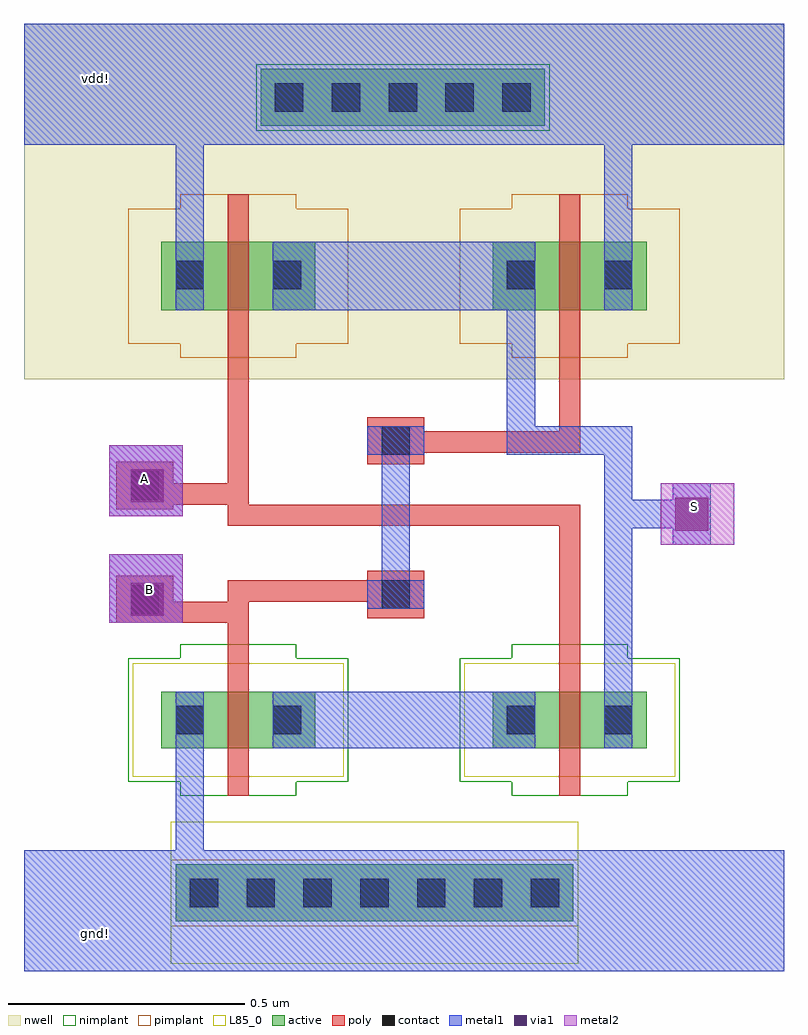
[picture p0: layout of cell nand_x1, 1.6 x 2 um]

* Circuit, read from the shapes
.subckt nand_x1 A B S gnd! vdd!
M1 n1 B gnd! gnd! nfet w=0.12u l=0.045u
M2 S A n1 gnd! nfet w=0.12u l=0.045u
M3 S A vdd! vdd! pfet w=0.145u l=0.045u
M4 vdd! B S vdd! pfet w=0.145u l=0.045u
.ends

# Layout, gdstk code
from math import pi, radians
import gdstk
lib = gdstk.Library(unit=1e-6, precision=5e-10)
def R(c, l, rs):  # rectangles x0, y0, x1, y1
    for r in rs: c.add(gdstk.rectangle(r[:2], r[2:], *l))
def A(c, l, x, y, w, h, nx, ny, dx, dy):  # array of equal rectangles
    R(c, l, [(x+i*dx, y+j*dy, x+i*dx+w, y+j*dy+h) for i in range(nx) for j in range(ny)])
active = (1, 0)
nwell = (2, 0)
poly = (3, 0)
nimplant = (4, 0)
pimplant = (5, 0)
contact = (6, 0)
metal1 = (7, 0)
via1 = (8, 0)
metal2 = (9, 0)
L85_0 = (85, 0)

nmos1v_cdns_764190943050 = lib.new_cell('nmos1v_CDNS_764190943050')
R(nmos1v_cdns_764190943050, active, [(-0.14,0,0,0.12), (0,0,0.045,0.12), (0.045,0,0.185,0.12)])
R(nmos1v_cdns_764190943050, poly, [(0,-0.1,0.045,-0.05), (0,-0.05,0.045,0), (0,0,0.045,0.12), (0,0.12,0.045,0.17), (0,0.17,0.045,0.22)])
R(nmos1v_cdns_764190943050, nimplant, [(-0.1,-0.1,0.145,0.22), (-0.21,-0.07,0.255,0.19)])
R(nmos1v_cdns_764190943050, contact, [(-0.11,0.03,-0.05,0.09), (0.095,0.03,0.155,0.09)])
R(nmos1v_cdns_764190943050, metal1, [(-0.11,0,-0.05,0.12), (0.095,0,0.155,0.12)])
R(nmos1v_cdns_764190943050, L85_0, [(-0.2,-0.06,0.245,0.18)])

pmos1v_cdns_764190943051 = lib.new_cell('pmos1v_CDNS_764190943051')
R(pmos1v_cdns_764190943051, active, [(-0.14,0,0,0.145), (0,0,0.045,0.145), (0.045,0,0.185,0.145)])
R(pmos1v_cdns_764190943051, nwell, [(-0.2,-0.06,0.245,0.205)])
R(pmos1v_cdns_764190943051, poly, [(0,-0.1,0.045,-0.05), (0,-0.05,0.045,0), (0,0,0.045,0.145), (0,0.145,0.045,0.195), (0,0.195,0.045,0.245)])
R(pmos1v_cdns_764190943051, pimplant, [(-0.1,-0.1,0.145,0.245), (-0.21,-0.07,0.255,0.215)])
R(pmos1v_cdns_764190943051, contact, [(-0.11,0.045,-0.05,0.105), (0.095,0.045,0.155,0.105)])
R(pmos1v_cdns_764190943051, metal1, [(-0.11,0,-0.05,0.145), (0.095,0,0.155,0.145)])

m1_po_cdns_764190943050 = lib.new_cell('M1_PO_CDNS_764190943050')
R(m1_po_cdns_764190943050, poly, [(-0.05,-0.06,0.05,0.06)])
R(m1_po_cdns_764190943050, contact, [(-0.03,-0.03,0.03,0.03)])
R(m1_po_cdns_764190943050, metal1, [(-0.03,-0.06,0.03,0.06)])

m2_m1_cdns_764190943051 = lib.new_cell('M2_M1_CDNS_764190943051')
R(m2_m1_cdns_764190943051, metal1, [(-0.04,-0.065,0.04,0.065)])
R(m2_m1_cdns_764190943051, via1, [(-0.035,-0.035,0.035,0.035)])
R(m2_m1_cdns_764190943051, metal2, [(-0.04,-0.065,0.04,0.065)])

m1_psub_cdns_76419094305 = lib.new_cell('M1_PSUB_CDNS_764190943052')
R(m1_psub_cdns_76419094305, active, [(-0.06,-0.42,0.06,0.42)])
R(m1_psub_cdns_76419094305, pimplant, [(-0.07,-0.43,0.07,0.43)])
A(m1_psub_cdns_76419094305, contact, -0.03, -0.39, 0.06, 0.06, 1, 7, 0, 0.12)
R(m1_psub_cdns_76419094305, metal1, [(-0.03,-0.42,0.03,0.42)])
R(m1_psub_cdns_76419094305, L85_0, [(-0.15,-0.43,0.15,0.43)])

m1_nwell_cdns_7641909430 = lib.new_cell('M1_NWELL_CDNS_764190943053')
R(m1_nwell_cdns_7641909430, active, [(-0.06,-0.3,0.06,0.3)])
R(m1_nwell_cdns_7641909430, nwell, [(-0.15,-0.36,0.15,0.36)])
R(m1_nwell_cdns_7641909430, nimplant, [(-0.07,-0.31,0.07,0.31)])
A(m1_nwell_cdns_7641909430, contact, -0.03, -0.27, 0.06, 0.06, 1, 5, 0, 0.12)
R(m1_nwell_cdns_7641909430, metal1, [(-0.03,-0.3,0.03,0.3)])

nand_x1 = lib.new_cell('nand_x1')
R(nand_x1, nwell, [(0,1.25,1.605,2)])
R(nand_x1, metal1, [(0,0,1.605,0.255), (0.1,0.03,0.2,0.13), (0.18,0.735,0.335,0.88), (0.18,0.96,0.335,1.11), (0,1.745,1.605,2), (0.1,1.835,0.2,1.935)])
R(nand_x1, metal2, [(0.18,0.735,0.335,0.88), (0.215,0.755,0.315,0.855), (1.345,0.9,1.5,1.03), (1.365,0.93,1.465,1.03), (0.18,0.96,0.335,1.11), (0.205,0.99,0.305,1.09)])
nand_x1.add(gdstk.FlexPath([(1.05,1.12),(1.05,1.395)], 0.06, ends=(0.03, 0), simple_path=True, layer=7, datatype=0))  # metal1
nand_x1.add(gdstk.FlexPath([(0.35,0.47),(0.35,0.255)], 0.06, ends="flush", simple_path=True, layer=7, datatype=0))  # metal1
nand_x1.add(gdstk.FlexPath([(1.255,1.12),(1.05,1.12)], 0.06, ends="extended", simple_path=True, layer=7, datatype=0))  # metal1
nand_x1.add(gdstk.FlexPath([(1.255,0.965),(1.41,0.965)], 0.06, ends=(0.03, 0), simple_path=True, layer=7, datatype=0))  # metal1
nand_x1.add(gdstk.FlexPath([(1.255,0.965),(1.255,1.12)], 0.06, ends="extended", simple_path=True, layer=7, datatype=0))  # metal1
nand_x1.add(gdstk.FlexPath([(1.255,0.59),(1.255,0.965)], 0.06, ends=(0, 0.03), simple_path=True, layer=7, datatype=0))  # metal1
nand_x1.add(gdstk.FlexPath([(1.255,1.54),(1.255,1.745)], 0.06, ends="flush", simple_path=True, layer=7, datatype=0))  # metal1
nand_x1.add(gdstk.FlexPath([(0.35,1.54),(0.35,1.745)], 0.06, ends="flush", simple_path=True, layer=7, datatype=0))  # metal1
nand_x1.add(gdstk.FlexPath([(0.585,1.4675),(1.02,1.4675)], 0.145, ends="flush", simple_path=True, layer=7, datatype=0))  # metal1
nand_x1.add(gdstk.FlexPath([(1.02,0.53),(0.585,0.53)], 0.12, ends="flush", simple_path=True, layer=7, datatype=0))  # metal1
nand_x1.add(gdstk.FlexPath([(0.785,1.1175),(0.785,0.795)], 0.06, ends="flush", simple_path=True, layer=7, datatype=0))  # metal1
nand_x1.add(gdstk.FlexPath([(0.4525,0.7575),(0.205,0.7575)], 0.045, ends=(0.0225, 0), simple_path=True, layer=3, datatype=0))  # poly
nand_x1.add(gdstk.FlexPath([(0.4525,0.7575),(0.4525,0.8025)], 0.045, ends="extended", simple_path=True, layer=3, datatype=0))  # poly
nand_x1.add(gdstk.FlexPath([(0.4525,1.0075),(0.205,1.0075)], 0.045, ends=(0.0225, 0), simple_path=True, layer=3, datatype=0))  # poly
nand_x1.add(gdstk.FlexPath([(0.4525,1.295),(0.4525,1.0075)], 0.045, ends=(0, 0.0225), simple_path=True, layer=3, datatype=0))  # poly
nand_x1.add(gdstk.FlexPath([(1.1525,1.1175),(0.785,1.1175)], 0.045, ends=(0.0225, 0), simple_path=True, layer=3, datatype=0))  # poly
nand_x1.add(gdstk.FlexPath([(1.1525,1.295),(1.1525,1.1175)], 0.045, ends=(0, 0.0225), simple_path=True, layer=3, datatype=0))  # poly
nand_x1.add(gdstk.FlexPath([(0.4525,0.8025),(0.82,0.8025)], 0.045, ends=(0.0225, 0), simple_path=True, layer=3, datatype=0))  # poly
nand_x1.add(gdstk.FlexPath([(0.4525,0.69),(0.4525,0.7575)], 0.045, ends=(0, 0.0225), simple_path=True, layer=3, datatype=0))  # poly
nand_x1.add(gdstk.FlexPath([(0.4525,0.9625),(0.4525,1.0075)], 0.045, ends="extended", simple_path=True, layer=3, datatype=0))  # poly
nand_x1.add(gdstk.FlexPath([(1.1525,0.9625),(0.4525,0.9625)], 0.045, ends="extended", simple_path=True, layer=3, datatype=0))  # poly
nand_x1.add(gdstk.FlexPath([(1.1525,0.665),(1.1525,0.9625)], 0.045, ends=(0, 0.0225), simple_path=True, layer=3, datatype=0))  # poly
nand_x1.add(gdstk.Reference(nmos1v_cdns_764190943050, (0.43,0.47)))
nand_x1.add(gdstk.Reference(nmos1v_cdns_764190943050, (1.13,0.47)))
nand_x1.add(gdstk.Reference(pmos1v_cdns_764190943051, (1.13,1.395)))
nand_x1.add(gdstk.Reference(pmos1v_cdns_764190943051, (0.43,1.395)))
nand_x1.add(gdstk.Reference(m1_po_cdns_764190943050, (0.785,1.12), rotation=pi/2))
nand_x1.add(gdstk.Reference(m1_po_cdns_764190943050, (0.785,0.795), rotation=pi/2))
nand_x1.add(gdstk.Reference(m1_po_cdns_764190943050, (0.255,1.025), rotation=pi/2))
nand_x1.add(gdstk.Reference(m1_po_cdns_764190943050, (0.255,0.785), rotation=pi/2))
nand_x1.add(gdstk.Reference(m2_m1_cdns_764190943051, (1.41,0.965)))
nand_x1.add(gdstk.Reference(m2_m1_cdns_764190943051, (0.26,0.785), rotation=pi/2))
nand_x1.add(gdstk.Reference(m2_m1_cdns_764190943051, (0.26,1.025), rotation=pi/2))
nand_x1.add(gdstk.Reference(m1_psub_cdns_76419094305, (0.74,0.165), rotation=pi/2))
nand_x1.add(gdstk.Reference(m1_nwell_cdns_7641909430, (0.8,1.845), rotation=pi/2))
nand_x1.add(gdstk.Label('vdd!', (0.15,1.885), layer=7, texttype=0))
nand_x1.add(gdstk.Label('gnd!', (0.15,0.08), layer=7, texttype=0))
nand_x1.add(gdstk.Label('S', (1.415,0.98), layer=9, texttype=0))
nand_x1.add(gdstk.Label('B', (0.265,0.805), layer=9, texttype=0))
nand_x1.add(gdstk.Label('A', (0.255,1.04), layer=9, texttype=0))

lib.write_gds('nand_x1.gds')
